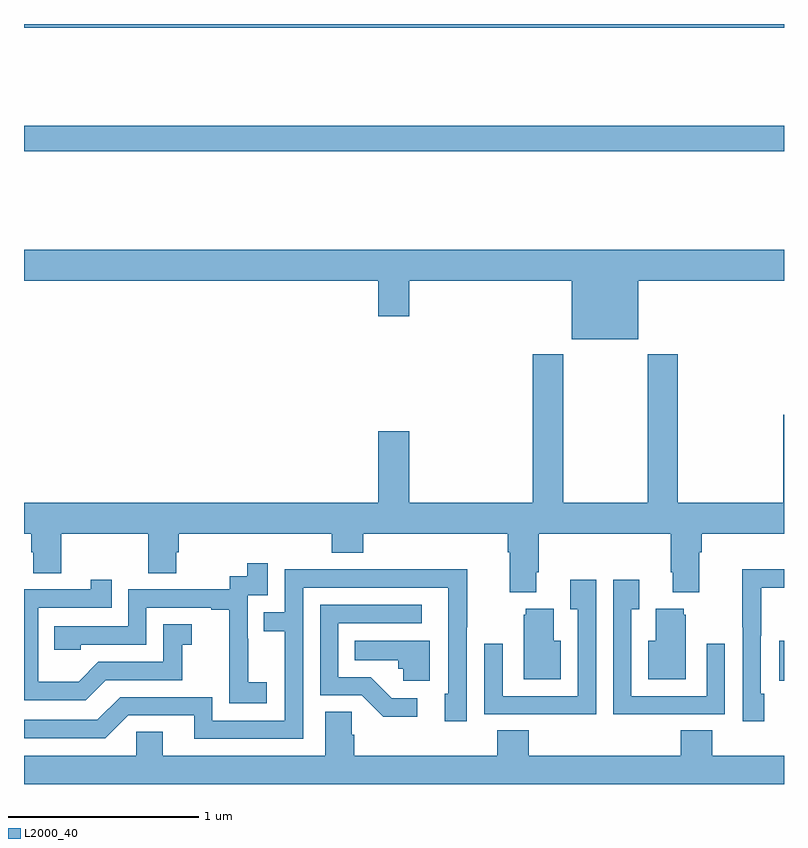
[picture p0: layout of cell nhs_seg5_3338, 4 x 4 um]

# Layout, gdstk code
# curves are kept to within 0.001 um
import gdstk
lib = gdstk.Library(unit=1e-6, precision=1e-09)
def R(c, l, rs):  # rectangles x0, y0, x1, y1
    for r in rs: c.add(gdstk.rectangle(r[:2], r[2:], *l))
def P(c, l, *ps):  # polygons
    for p in ps: c.add(gdstk.Polygon(p, *l))
L2000_40 = (2000, 40)

nhs_seg5_3338 = lib.new_cell('nhs_seg5_3338')
R(nhs_seg5_3338, L2000_40, [(310.976,833.342,311,833.554), (307,836.128,311,836.264), (307,836.78,311,836.799)])
P(nhs_seg5_3338, L2000_40, [(310.234,835.448),(311,835.448),(311,835.612),(307,835.612),(307,835.448),(308.864,835.448),(308.864,835.26),(309.028,835.26),(309.028,835.448),(309.884,835.448),(309.884,835.139),(310.234,835.139)],
  [(309.697,833.914),(309.71,833.914),(309.71,834.116),(310.403,834.116),(310.403,833.914),(310.415,833.914),(310.415,833.807),(310.555,833.807),(310.555,834.02),(310.568,834.02),(310.568,834.116),(311,834.116),(311,834.742),(310.997,834.742),(310.997,834.28),(310.442,834.28),(310.442,835.06),(310.282,835.06),(310.282,834.28),(309.837,834.28),(309.837,835.06),(309.677,835.06),(309.677,834.28),(309.028,834.28),(309.028,834.655),(308.864,834.655),(308.864,834.28),(307,834.28),(307,834.116),(307.037,834.116),(307.037,834.018),(307.049,834.018),(307.049,833.908),(307.197,833.908),(307.197,834.116),(307.654,834.116),(307.654,833.908),(307.801,833.908),(307.801,834.018),(307.814,834.018),(307.814,834.116),(308.621,834.116),(308.621,834.017),(308.786,834.017),(308.786,834.116),(309.545,834.116),(309.545,834.02),(309.557,834.02),(309.557,833.807),(309.697,833.807)],
  [(308.278,833.335),(308.18,833.335),(308.18,833.564),(308.178,833.564),(308.178,833.793),(308.283,833.793),(308.283,833.962),(308.175,833.962),(308.175,833.892),(308.082,833.892),(308.082,833.823),(307.548,833.823),(307.548,833.628),(307.159,833.628),(307.159,833.505),(307.299,833.505),(307.299,833.532),(307.644,833.532),(307.644,833.727),(307.985,833.727),(307.985,833.715),(308.081,833.715),(308.081,833.431),(308.08,833.431),(308.08,833.225),(308.278,833.225)],
  [(308.469,833.832),(309.233,833.832),(309.234,833.274),(309.215,833.274),(309.215,833.13),(309.33,833.13),(309.33,833.623),(309.333,833.623),(309.333,833.93),(308.869,833.93),(308.869,833.928),(308.373,833.928),(308.373,833.703),(308.263,833.703),(308.263,833.602),(308.373,833.602),(308.373,833.133),(307.992,833.133),(307.992,833.256),(307.506,833.256),(307.386,833.136),(307,833.136),(307,833.04),(307.428,833.04),(307.548,833.16),(307.895,833.16),(307.895,833.037),(308.469,833.037)],
  [(310.897,833.274),(310.878,833.274),(310.878,833.578),(310.879,833.578),(310.879,833.832),(311,833.832),(311,833.93),(310.78,833.93),(310.78,833.623),(310.782,833.623),(310.782,833.13),(310.897,833.13)],
  [(307.429,833.346),(307.833,833.346),(307.833,833.531),(307.882,833.531),(307.882,833.641),(307.734,833.641),(307.734,833.442),(307.392,833.442),(307.288,833.338),(307.074,833.338),(307.074,833.727),(307.463,833.727),(307.463,833.875),(307.352,833.875),(307.352,833.823),(307,833.823),(307,833.241),(307.324,833.241)],
  [(310.011,833.875),(309.875,833.875),(309.875,833.719),(309.915,833.719),(309.915,833.262),(309.519,833.262),(309.519,833.536),(309.423,833.536),(309.423,833.166),(309.739,833.166),(309.739,833.165),(310.011,833.165)],
  [(310.373,833.166),(310.689,833.166),(310.689,833.536),(310.593,833.536),(310.593,833.262),(310.197,833.262),(310.197,833.719),(310.237,833.719),(310.237,833.875),(310.101,833.875),(310.101,833.165),(310.373,833.165)],
  [(309.07,833.25),(308.935,833.25),(308.824,833.361),(308.655,833.361),(308.655,833.646),(309.094,833.646),(309.094,833.742),(308.559,833.742),(308.559,833.265),(308.778,833.265),(308.891,833.153),(309.07,833.153)],
  [(310.483,833.691),(310.472,833.691),(310.472,833.722),(310.325,833.722),(310.325,833.554),(310.286,833.554),(310.286,833.351),(310.483,833.351)],
  [(309.826,833.554),(309.787,833.554),(309.787,833.722),(309.641,833.722),(309.641,833.691),(309.629,833.691),(309.629,833.351),(309.826,833.351)],
  [(309.136,833.554),(308.74,833.554),(308.74,833.45),(308.971,833.45),(308.971,833.406),(308.997,833.406),(308.997,833.342),(309.136,833.342)],
  [(311,832.948),(310.622,832.948),(310.622,833.081),(310.457,833.081),(310.457,832.948),(309.656,832.948),(309.656,833.081),(309.491,833.081),(309.491,832.948),(308.738,832.948),(308.738,833.057),(308.724,833.057),(308.724,833.18),(308.585,833.18),(308.585,832.948),(307.729,832.948),(307.729,833.075),(307.59,833.075),(307.59,832.948),(307,832.948),(307,832.799),(311,832.799)])

lib.write_gds('nhs_seg5_3338.gds')
